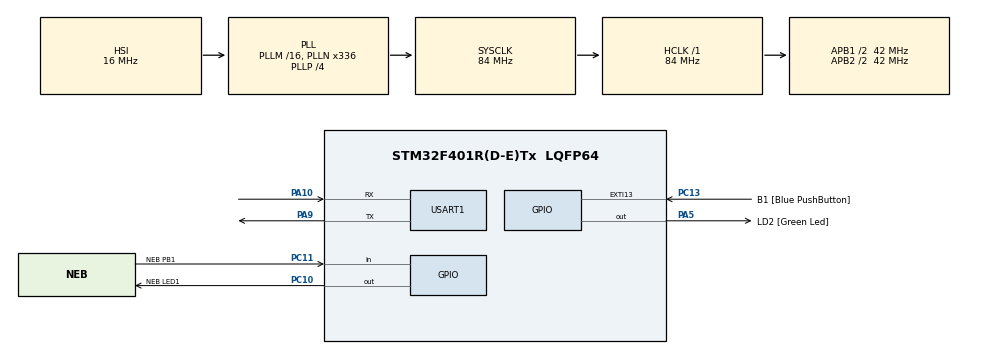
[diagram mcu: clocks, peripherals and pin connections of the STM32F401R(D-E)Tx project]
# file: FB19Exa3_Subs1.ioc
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Mcu.Family=STM32F4
Mcu.Name=STM32F401R(D-E)Tx
Mcu.Package=LQFP64
NVIC.PriorityGroup=NVIC_PRIORITYGROUP_2
PA10.Mode=Asynchronous
PA10.Signal=USART1_RX
PA13.GPIO_Label=TMS
PA13.Mode=Serial_Wire
PA13.Signal=SYS_JTMS-SWDIO
PA14.GPIO_Label=TCK
PA14.Mode=Serial_Wire
PA14.Signal=SYS_JTCK-SWCLK
PA5.GPIO_Label=LD2 [Green Led]
PA5.GPIO_Mode=GPIO_MODE_OUTPUT_PP
PA5.GPIO_PuPd=GPIO_NOPULL
PA5.GPIO_Speed=GPIO_SPEED_FREQ_LOW
PA5.Signal=GPIO_Output
PA9.Mode=Asynchronous
PA9.Signal=USART1_TX
PB3.GPIO_Label=SWO
PB3.Signal=SYS_JTDO-SWO
PC10.GPIO_Label=NEB LED1
PC10.Signal=GPIO_Output
PC11.GPIO_Label=NEB PB1
PC11.GPIO_PuPd=GPIO_NOPULL
PC11.Signal=GPIO_Input
PC13-ANTI_TAMP.GPIO_Label=B1 [Blue PushButton]
PC13-ANTI_TAMP.GPIO_ModeDefaultEXTI=GPIO_MODE_IT_FALLING
PC13-ANTI_TAMP.GPIO_PuPd=GPIO_NOPULL
PC13-ANTI_TAMP.Signal=GPXTI13
PC14-OSC32_IN.Mode=LSE-External-Oscillator
PC14-OSC32_IN.Signal=RCC_OSC32_IN
PC15-OSC32_OUT.Mode=LSE-External-Oscillator
PC15-OSC32_OUT.Signal=RCC_OSC32_OUT
PH0\ -\ OSC_IN.Mode=HSE-External-Clock-Source
PH0\ -\ OSC_IN.Signal=RCC_OSC_IN
PH1\ -\ OSC_OUT.Mode=HSE-External-Clock-Source
PH1\ -\ OSC_OUT.Signal=RCC_OSC_OUT
ProjectManager.HeapSize=0x200
ProjectManager.StackSize=0x400
ProjectManager.TargetToolchain=STM32CubeIDE
RCC.48MHZClocksFreq_Value=48000000
RCC.AHBFreq_Value=84000000
RCC.APB1CLKDivider=RCC_HCLK_DIV2
RCC.APB1Freq_Value=42000000
RCC.APB1TimFreq_Value=84000000
RCC.APB2CLKDivider=RCC_HCLK_DIV2
RCC.APB2Freq_Value=42000000
RCC.APB2TimFreq_Value=84000000
RCC.CortexFreq_Value=84000000
RCC.HCLKFreq_Value=84000000
RCC.HSE_VALUE=8000000
RCC.HSI_VALUE=16000000
RCC.PLLN=336
RCC.PLLP=RCC_PLLP_DIV4
RCC.PLLQ=7
RCC.SYSCLKFreq_VALUE=84000000
RCC.SYSCLKSource=RCC_SYSCLKSOURCE_PLLCLK
RCC.VCOOutputFreq_Value=336000000
USART1.VirtualMode=VM_ASYNC
board=NUCLEO-F401RE

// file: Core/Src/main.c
/* USER CODE BEGIN Header */
/*
 *  Filename:       main.c
 *  Platform(s):    STM32F401x
 *  Project:        FB19Exa3_Subs1
 *  Created:        December 14, 2023
 *  Description:    This file implements the main() function of this application.
 *
 *  Glossary:       LED:    Light Emitting Diode
 *                  NEB:    Nucleo Expansion Board for RS-232 & RS-485
 *                          communication by Bitcontrol GmbH, Switzerland,
 *                          v2.2 or higher
 *                  PB:     Push Button
 *
 *                  Responsibilities
 *                  ================
 *                  This application transmits and receives messages as FB19
 *                  Subscriber containing a 32bit number representing the
 *                  status of a single digital input (PB1 on the NEB).
 *
 *                  Depending on the value of the number in the received
 *                  message, it switches a single digital output (LED1 on the
 *                  NEB) on or off. If the number is not equal to zero, it
 *                  switches its output on, or off otherwise.
 *
 *                  The application then returns the status of its digital
 *                  input to the FB19 Controller. If the button PB1 is not
 *                  pressed, the number in the returned message is 0. If the
 *                  button is pressed, the number corresponds to the value of
 *                  the corresponding GPIO port register (not zero).
 *
 *                  USART1 is used to display this process on a serial terminal.
 *
 *                  FB19 Libraries
 *                  ==============
 *                  - FB19SubsLib
 *
 *                  Configuration
 *                  =============
 *                  FB19 Bitrate: 100kbit/s
 *                  FB19 Subscriber bus address: 1
 *                  FB19 Bus: RS-485 (not RS-232!)
 *                  USART1 RS-232 parameters: 115200/8/N/1
 *                  Used SoC resources:
 *                  - GPIOA, bit 7: FB19Subs RS-485 driver Data Output Enable
 *                  - GPIOC, bit 10: Digital output for setting LED1 state
 *                  - GPIOC, bit 11: Digital input for sensing PB1 state
 *                  - TIM3: FB19Subs
 *                  - USART1 (UART1): RS-232 Terminal
 *                  - USART2 (UART2): Unused
 *                  - USART6 (UART3): FB19Subs
 *                  Hardware:
 *                  - Nucleo Board: Nucleo-64 STM32F401
 *                  - Nucleo Expansion Board for RS-232 & RS-485 communication
 *                    by Bitcontrol GmbH, Switzerland, v2.2 or higher
 *                    - This board contains jumpers that relate to the bus
 *                      system:
 *                      - JP4, JP5: Don't care
 *                        If pins 2 & 3 are connected, UART2 can be used as
 *                        RS-232 interface on J3
 *                      - JP6, JP7: Connect pins 1 & 2
 *                        This selects RS-485 for UART3
 *                      - JP8, JP9: Connect pins 2 & 3
 *                        This connects UART3 to J2
 *                    - The board contains furthermore a user push button and a
 *                      user LED
 *
 *  Notes:          The initial version of this file was generated using
 *                  STMicroelectronics STM32CubeMX, v6.8.0.
 *                  Bitcontrol GmbH is grateful for ST's free of charge tools
 *                  and recommends them to any programmer, from hobbyist to
 *                  professional.
 *
 *                  Local symbols and functions that are user code specific
 *                  start with my_ or MY_ respectively for easy spotting.
 *
 *  Author:         Andreas Isenegger
 *  Copyright:      2023, Bitcontrol GmbH, Switzerland.
 *                  All rights reserved.
 */
/* USER CODE END Header */
#include "main.h"

/* USER CODE BEGIN Includes */
#include <stdio.h> // For printf()

#include "FB19LibMsg.h"
#include "FB19Subs.h"
#include "FB19SubsCfg.h"
/* USER CODE END Includes */

/* USER CODE BEGIN PD */
#define MY_BIT_RATE                     100000 // [bit/s]
#define MY_MAIN_LOOP_PERIOD_MS          500    // [ms]
#define MY_MESSAGE_IDENTIFIER           FB19_MSG_ID_USR_LOWEST
/* USER CODE END PD */

UART_HandleTypeDef huart1;

void SystemClock_Config(void);
static void MX_GPIO_Init(void);
static void MX_USART1_UART_Init(void);
/* USER CODE BEGIN PFP */
/* These convenience functions capture the different actions. */
static int myStartFB19(void);
static void mySubsProcessMsg(BOOL buttonPressedLocal);
static void myWaitForTick(void);
/* USER CODE END PFP */

int main(void)
{

  /* MCU Configuration--------------------------------------------------------*/

  /* Reset of all peripherals, Initializes the Flash interface and the Systick. */
  HAL_Init();

  /* USER CODE BEGIN Init */
  __HAL_DBGMCU_FREEZE_TIM2();
  __HAL_DBGMCU_FREEZE_TIM3();
  /* USER CODE END Init */

  /* Configure the system clock */
  SystemClock_Config();

  /* USER CODE BEGIN SysInit */
    HAL_SetTickFreq(HAL_TICK_FREQ_100HZ);
  /* USER CODE END SysInit */

  /* Initialize all configured peripherals */
  MX_GPIO_Init();
  MX_USART1_UART_Init();
  /* USER CODE BEGIN 2 */
    int status = myStartFB19(); // Start Controller and Subscriber instances
    if (status != R_SUCCESS)
    {
        return 1; // Terminate application, return error value
    }
  /* USER CODE END 2 */

  /* Infinite loop */
  /* USER CODE BEGIN WHILE */
    printf("FB19Exa3_Subs1 application started.\n");
    BOOL buttonPressedLocal;
    while (1)
    {
        /* Call the FB19 handler function periodically. */
        FB19Subs_handler(&myInstFB19Subs);

        buttonPressedLocal = GPIOC->IDR & (1 << 11) ? FALSE : TRUE; // 3.3V when NOT pressed
        mySubsProcessMsg(buttonPressedLocal);

        /* Slow this loop down as desired. */
        myWaitForTick(); // Tick frequency is 100Hz; see HAL_SetTickFreq() above
    /* USER CODE END WHILE */

    /* USER CODE BEGIN 3 */
    }
    return 0; // If ever reached
  /* USER CODE END 3 */
}

void SystemClock_Config(void)
{
  RCC_OscInitTypeDef RCC_OscInitStruct = {0};
  RCC_ClkInitTypeDef RCC_ClkInitStruct = {0};

  /** Configure the main internal regulator output voltage
  */
  __HAL_RCC_PWR_CLK_ENABLE();
  __HAL_PWR_VOLTAGESCALING_CONFIG(PWR_REGULATOR_VOLTAGE_SCALE2);

  /** Initializes the RCC Oscillators according to the specified parameters
  * in the RCC_OscInitTypeDef structure.
  */
  RCC_OscInitStruct.OscillatorType = RCC_OSCILLATORTYPE_HSI;
  RCC_OscInitStruct.HSIState = RCC_HSI_ON;
  RCC_OscInitStruct.HSICalibrationValue = RCC_HSICALIBRATION_DEFAULT;
  RCC_OscInitStruct.PLL.PLLState = RCC_PLL_ON;
  RCC_OscInitStruct.PLL.PLLSource = RCC_PLLSOURCE_HSI;
  RCC_OscInitStruct.PLL.PLLM = 16;
  RCC_OscInitStruct.PLL.PLLN = 336;
  RCC_OscInitStruct.PLL.PLLP = RCC_PLLP_DIV4;
  RCC_OscInitStruct.PLL.PLLQ = 7;
  if (HAL_RCC_OscConfig(&RCC_OscInitStruct) != HAL_OK)
  {
    Error_Handler();
  }

  /** Initializes the CPU, AHB and APB buses clocks
  */
  RCC_ClkInitStruct.ClockType = RCC_CLOCKTYPE_HCLK|RCC_CLOCKTYPE_SYSCLK
                              |RCC_CLOCKTYPE_PCLK1|RCC_CLOCKTYPE_PCLK2;
  RCC_ClkInitStruct.SYSCLKSource = RCC_SYSCLKSOURCE_PLLCLK;
  RCC_ClkInitStruct.AHBCLKDivider = RCC_SYSCLK_DIV1;
  RCC_ClkInitStruct.APB1CLKDivider = RCC_HCLK_DIV2;
  RCC_ClkInitStruct.APB2CLKDivider = RCC_HCLK_DIV2;

  if (HAL_RCC_ClockConfig(&RCC_ClkInitStruct, FLASH_LATENCY_2) != HAL_OK)
  {
    Error_Handler();
  }
}

static void MX_USART1_UART_Init(void)
{

  huart1.Instance = USART1;
  huart1.Init.BaudRate = 115200;
  huart1.Init.WordLength = UART_WORDLENGTH_8B;
  huart1.Init.StopBits = UART_STOPBITS_1;
  huart1.Init.Parity = UART_PARITY_NONE;
  huart1.Init.Mode = UART_MODE_TX_RX;
  huart1.Init.HwFlowCtl = UART_HWCONTROL_NONE;
  huart1.Init.OverSampling = UART_OVERSAMPLING_16;
  if (HAL_UART_Init(&huart1) != HAL_OK)
  {
    Error_Handler();
  }
  /* USER CODE BEGIN USART1_Init 2 */
    setvbuf(stdin, NULL, _IONBF, 0); // Disable console input buffering
  /* USER CODE END USART1_Init 2 */

}

static void MX_GPIO_Init(void)
{
  GPIO_InitTypeDef GPIO_InitStruct = {0};

  /* GPIO Ports Clock Enable */
  __HAL_RCC_GPIOC_CLK_ENABLE();
  __HAL_RCC_GPIOH_CLK_ENABLE();
  __HAL_RCC_GPIOA_CLK_ENABLE();
  __HAL_RCC_GPIOB_CLK_ENABLE();

  /*Configure GPIO pin Output Level */
  HAL_GPIO_WritePin(LD2_GPIO_Port, LD2_Pin, GPIO_PIN_RESET);

  /*Configure GPIO pin Output Level */
  HAL_GPIO_WritePin(NEB_LED1_GPIO_Port, NEB_LED1_Pin, GPIO_PIN_RESET);

  /*Configure GPIO pin : B1_Pin */
  GPIO_InitStruct.Pin = B1_Pin;
  GPIO_InitStruct.Mode = GPIO_MODE_IT_FALLING;
  GPIO_InitStruct.Pull = GPIO_NOPULL;
  HAL_GPIO_Init(B1_GPIO_Port, &GPIO_InitStruct);

  /*Configure GPIO pin : LD2_Pin */
  GPIO_InitStruct.Pin = LD2_Pin;
  GPIO_InitStruct.Mode = GPIO_MODE_OUTPUT_PP;
  GPIO_InitStruct.Pull = GPIO_NOPULL;
  GPIO_InitStruct.Speed = GPIO_SPEED_FREQ_LOW;
  HAL_GPIO_Init(LD2_GPIO_Port, &GPIO_InitStruct);

  /*Configure GPIO pin : NEB_LED1_Pin */
  GPIO_InitStruct.Pin = NEB_LED1_Pin;
  GPIO_InitStruct.Mode = GPIO_MODE_OUTPUT_PP;
  GPIO_InitStruct.Pull = GPIO_NOPULL;
  GPIO_InitStruct.Speed = GPIO_SPEED_FREQ_LOW;
  HAL_GPIO_Init(NEB_LED1_GPIO_Port, &GPIO_InitStruct);

  /*Configure GPIO pin : NEB_PB1_Pin */
  GPIO_InitStruct.Pin = NEB_PB1_Pin;
  GPIO_InitStruct.Mode = GPIO_MODE_INPUT;
  GPIO_InitStruct.Pull = GPIO_NOPULL;
  HAL_GPIO_Init(NEB_PB1_GPIO_Port, &GPIO_InitStruct);

}

/* USER CODE BEGIN 4 */
/*
 * FB19 Subscriber related: Fetches a message from the Rx queue if available,
 * switches LED1 on or off depending on the message contents and
 * buttonStatusLocal, and returns a response message with the buttonStatusLocal
 * value to the FB19 Controller.
 */
static void mySubsProcessMsg(BOOL buttonPressedLocal)
{
    static uint32_t noiseFaultCount;
    static uint32_t rxFaultCount;
    static uint32_t txFaultCount;

    int16_t addr;
    int32_t buttonPressedRemote;
    FB19Msg_t msg;
    msg.dscr.msgId = MY_MESSAGE_IDENTIFIER;
    int status;
    uint32_t tmp;

    status = FB19Subs_fetch(&myInstFB19Subs, &msg);
    // status equals R_ERROR unless there is a message with a matching
    // identifier in the receive queue.
    if (status == R_SUCCESS) // Message received?
    {
        FB19Subs_getBusAddress(&myInstFB19Subs, &addr);
        printf("\nFB19Subs with BA=%i processing msg\n", addr);
        if (msg.dscr.errSts == FB19_DRV_ERR_NONE)
        {
            status = FB19LibMsg_removeInt32(&msg, &buttonPressedRemote);
            if (status == R_SUCCESS)
            {
                if (buttonPressedRemote)
                {
                    GPIOC->ODR &= ~(1 << 10); // Switch LED1 on
                }
                else
                {
                    GPIOC->ODR |= (1 << 10); // Switch LED1 off
                }
                printf("Rxd msg with val=%li\n", buttonPressedRemote);

                msg.dscr.dstAddr = FB19_BUS_ADDR_CTRL;
                FB19LibMsg_appendInt32(&msg, buttonPressedLocal); // Assume success, ignore return value
                status = FB19Subs_submit(&myInstFB19Subs, &msg);
                if (status == R_SUCCESS)
                {
                    printf("Txd msg with val=%i\n", buttonPressedLocal);
                }
                else
                {
                    printf("FB19Subs_submit() failed\n");
                }
            }
            else
            {
                printf("FB19LibMsg_removeInt32() failed\n");
            }
        }
        else
        {
            printf("Rxd msg with error=%i\n", msg.dscr.errSts);
        }
        printf("FB19Subs with BA=%i processing msg DONE\n", addr);
    }

    /* Display error counts if they have changed. */
    FB19Subs_getNoiseFaultCount(&myInstFB19Subs, &tmp); // Processing return value is optional
    if (noiseFaultCount != tmp)
    {
        noiseFaultCount = tmp;
        printf("Noise fault count=%lu\n", noiseFaultCount);
    }
    FB19Subs_getRxFaultCount(&myInstFB19Subs, &tmp); // Processing return value is optional
    if (rxFaultCount != tmp)
    {
        rxFaultCount = tmp;
        printf("Rx fault count=%lu\n", rxFaultCount);
    }
    FB19Subs_getTxFaultCount(&myInstFB19Subs, &tmp); // Processing return value is optional
    if (txFaultCount != tmp)
    {
        txFaultCount = tmp;
        printf("Tx fault count=%lu\n", txFaultCount);
    }
}

static int myStartFB19(void)
{
    int status;

    printf("FB19Subs version: %s\n", FB19Subs_getVersion());
    status = FB19Subs_start(&myInstFB19Subs, &myCfgFB19Subs, MY_BIT_RATE);
    if (status == R_SUCCESS)
    {
        printf("FB19Subs_start() succeeded\n");
    }
    else
    {
        printf("FB19Subs_start() failed\n");
    }
    printf("\n");
    return status;
}

static void myWaitForTick(void)
{
    volatile uint32_t tickCnt = HAL_GetTick();
    while (tickCnt == HAL_GetTick());
}
/* USER CODE END 4 */

void Error_Handler(void)
{
    __disable_irq();
    while (1)
    {
    }
}
